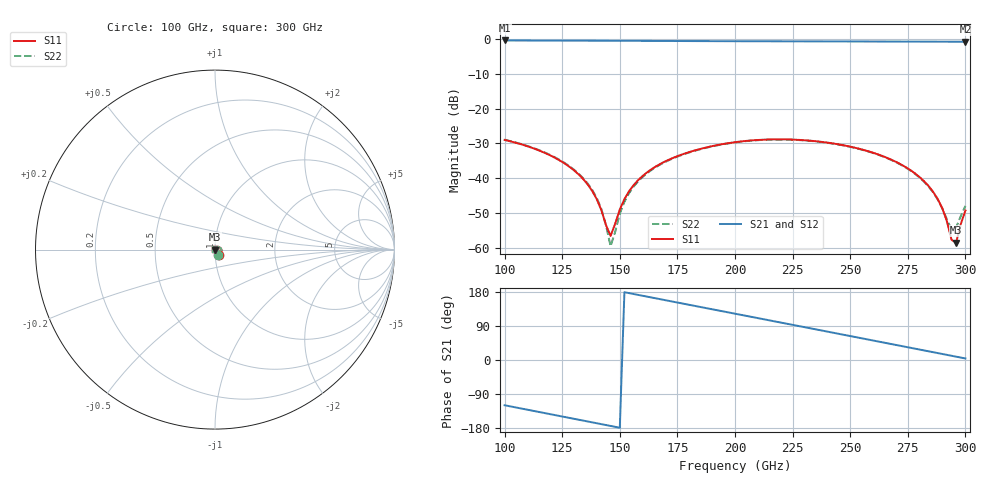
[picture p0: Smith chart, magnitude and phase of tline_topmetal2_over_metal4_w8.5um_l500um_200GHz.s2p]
#  GHZ S DB R 50
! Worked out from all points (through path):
!   101 points, 100 GHz to 300 GHz, reference 50 ohm
!   highest |S21| = -0.40 dB at 100 GHz (marker M1); lowest = -0.8 dB at 300 GHz (marker M2)
!   group delay of S21, straight-line fit = 3.28 ps
!   lowest |S11| = -58.5 dB at 296 GHz (marker M3), VSWR 1.00, Z = 50.1 + j0.0379 ohm
!   |S11| at or under -10 dB: start of sweep to end of sweep
!   |S22| runs from -59.5 to -28.9 dB; largest |S21 - S12| = 1.1e-14
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100  -28.99 -56.5  -0.40 -119.4  -0.40 -119.4  -28.92 -57.2
120  -33.48 -76.4  -0.44 -143.2  -0.44 -143.2  -33.37 -77.8
134  -40.14 -86.9  -0.47 -159.8  -0.47 -159.8  -39.91 -89.9
138  -43.62 -86.9  -0.48 -164.5  -0.48 -164.5  -43.31 -91.4
142  -49.16 -78.9  -0.48 -169.3  -0.48 -169.3  -48.82 -87.9
146  -56.56 -15.4  -0.49 -174.0  -0.49 -174.0  -59.50 -31.8
150  -48.95 42.8  -0.50 -178.8  -0.50 -178.8  -50.16 47.7
154  -43.74 50.0  -0.51 176.5  -0.51 176.5  -44.28 53.1
160  -39.27 49.1  -0.53 169.4  -0.53 169.4  -39.56 51.0
168  -35.72 43.6  -0.55 159.9  -0.55 159.9  -35.90 44.7
182  -32.10 31.1  -0.58 143.4  -0.58 143.4  -32.20 31.6
200  -29.63 12.3  -0.62 122.2  -0.62 122.2  -29.70 12.6
218  -28.82 -8.4  -0.65 101.0  -0.65 101.0  -28.87 -8.2
234  -29.29 -27.0  -0.67 82.1  -0.67 82.1  -29.33 -26.8
250  -30.91 -45.4  -0.69 63.2  -0.69 63.2  -30.97 -45.0
268  -34.70 -65.2  -0.72 41.9  -0.72 41.9  -34.79 -64.1
278  -38.53 -74.9  -0.73 30.1  -0.73 30.1  -38.66 -72.6
286  -43.89 -79.8  -0.75 20.6  -0.75 20.6  -44.06 -74.2
290  -48.67 -77.4  -0.76 15.9  -0.76 15.9  -48.67 -66.6
294  -57.69 -45.3  -0.76 11.1  -0.76 11.1  -54.77 -24.8
296  -58.46 18.5  -0.77 8.8  -0.77 8.8  -54.08 14.9
300  -49.28 57.1  -0.77 4.1  -0.77 4.1  -47.94 47.2
